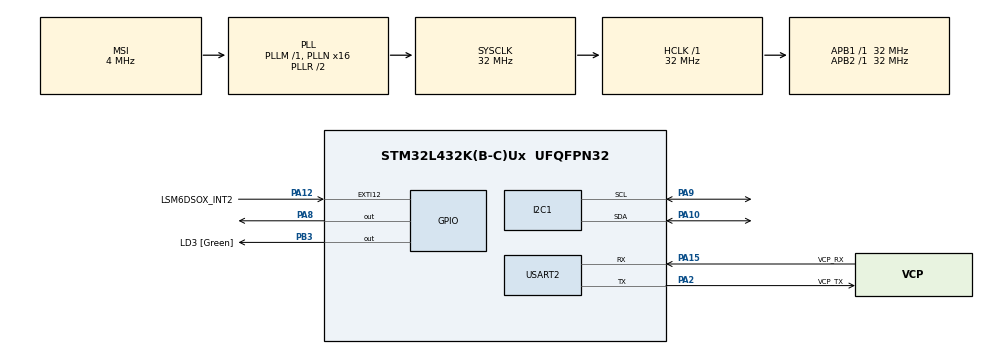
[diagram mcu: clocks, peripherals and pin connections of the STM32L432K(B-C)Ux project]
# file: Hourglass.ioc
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I2C1.Timing=0x00B07CB4
Mcu.Family=STM32L4
Mcu.Name=STM32L432K(B-C)Ux
Mcu.Package=UFQFPN32
NVIC.EXTI15_10_IRQn=true\:0\:0\:false\:false\:true\:true\:true\:true
NVIC.PriorityGroup=NVIC_PRIORITYGROUP_4
PA0.GPIO_Label=MCO [High speed clock in]
PA0.Signal=RCC_CK_IN
PA10.Mode=I2C
PA10.Signal=I2C1_SDA
PA12.GPIO_Label=LSM6DSOX_INT2
PA12.GPIO_PuPd=GPIO_PULLDOWN
PA12.Signal=GPXTI12
PA13\ (JTMS-SWDIO).GPIO_Label=SWDIO
PA13\ (JTMS-SWDIO).Signal=SYS_JTMS-SWDIO
PA14\ (JTCK-SWCLK).GPIO_Label=SWCLK
PA14\ (JTCK-SWCLK).Signal=SYS_JTCK-SWCLK
PA15\ (JTDI).GPIO_Label=VCP_RX
PA15\ (JTDI).Mode=Asynchronous
PA15\ (JTDI).Signal=USART2_RX
PA2.GPIO_Label=VCP_TX
PA2.Mode=Asynchronous
PA2.Signal=USART2_TX
PA8.PinState=GPIO_PIN_SET
PA8.Signal=GPIO_Output
PA9.Mode=I2C
PA9.Signal=I2C1_SCL
PB3\ (JTDO-TRACESWO).GPIO_Label=LD3 [Green]
PB3\ (JTDO-TRACESWO).Signal=GPIO_Output
PC14-OSC32_IN\ (PC14).Signal=RCC_OSC32_IN
PC15-OSC32_OUT\ (PC15).Signal=RCC_OSC32_OUT
ProjectManager.HeapSize=0x200
ProjectManager.StackSize=0x400
ProjectManager.TargetToolchain=STM32CubeIDE
RCC.AHBFreq_Value=32000000
RCC.APB1Freq_Value=32000000
RCC.APB1TimFreq_Value=32000000
RCC.APB2Freq_Value=32000000
RCC.APB2TimFreq_Value=32000000
RCC.CortexFreq_Value=32000000
RCC.HCLKFreq_Value=32000000
RCC.HSE_VALUE=8000000
RCC.HSI16_VALUE=16000000
RCC.HSI48_VALUE=48000000
RCC.HSI_VALUE=16000000
RCC.LSE_VALUE=32768
RCC.MSI_VALUE=4000000
RCC.PLLMUL=RCC_PLLMUL_4
RCC.PLLN=16
RCC.SYSCLKFreq_VALUE=32000000
RCC.SYSCLKSource=RCC_SYSCLKSOURCE_PLLCLK
RCC.VCOOutputFreq_Value=64000000
USART2.VirtualMode-Asynchronous=VM_ASYNC
board=NUCLEO-L432KC

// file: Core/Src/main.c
/* USER CODE BEGIN Header */
/**
  ******************************************************************************
  * @file           : main.c
  * @brief          : Main program body
  ******************************************************************************
  * @attention
  *
  * Copyright (c) 2024 STMicroelectronics.
  * All rights reserved.
  *
  * This software is licensed under terms that can be found in the LICENSE file
  * in the root directory of this software component.
  * If no LICENSE file comes with this software, it is provided AS-IS.
  *
  ******************************************************************************
  */
/* USER CODE END Header */
#include "main.h"
#include "i2c.h"
#include "usart.h"
#include "gpio.h"

/* USER CODE BEGIN Includes */
#include "lsm6dsox_reg.h"
#include <string.h>
#include <stdio.h>
/* USER CODE END Includes */

/* USER CODE BEGIN PM */
#define BOOT_TIME 10 //ms

/* Self Test Limits */
#define MIN_ST_LIMIT_mg 50.0f
#define MAX_ST_LIMIT_mg 1700.0F
#define MIN_ST_LIMIT_mdps 150000.0f
#define MAX_ST_LIMIT_mdps 700000.0f

/* Self Test Results*/
#define ST_PASS 1U
#define ST_FAIL 0U
/* USER CODE END PM */

/* USER CODE BEGIN PV */
static int16_t data_raw_acceleration[3];
static float acceleration_mg[3];
static uint8_t whoamI, rst;
static uint8_t tx_buffer[1000];

lsm6dsox_all_sources_t all_source;
stmdev_ctx_t dev_ctx;
/* USER CODE END PV */

void SystemClock_Config(void);
/* USER CODE BEGIN PFP */
static int32_t platform_write(void *handle, uint8_t reg, const uint8_t *bufp, uint16_t len);
static int32_t platform_read(void *handle, uint8_t reg, uint8_t *bufp, uint16_t len);
static void tx_com(uint8_t *tx_buffer, uint16_t len);
static void platform_delay(uint32_t ms);
void lsm6dsox_self_test(void);
void lsm6dsox_read_data_polling(void);
void lsm6dsox_orientation(void);
void lsm6dsox_setup();
/* USER CODE END PFP */

int main(void)
{

  /* MCU Configuration--------------------------------------------------------*/

  /* Reset of all peripherals, Initializes the Flash interface and the Systick. */
  HAL_Init();

  /* Configure the system clock */
  SystemClock_Config();

  /* Initialize all configured peripherals */
  MX_GPIO_Init();
  MX_I2C1_Init();
  MX_USART2_UART_Init();
  /* USER CODE BEGIN 2 */
  //HAL_Delay(100);
  //lsm6dsox_self_test();//Sensor Test
  //lsm6dsox_read_data_polling();
  //lsm6dsox_orientation();
  lsm6dsox_setup();
  /* USER CODE END 2 */

  /* Infinite loop */
  /* USER CODE BEGIN WHILE */
  while (1)
  {
    HAL_Delay(200);
    //HAL_GPIO_TogglePin(GPIOB,GPIO_PIN_3);//LED
    HAL_GPIO_TogglePin(GPIOA,GPIO_PIN_8);//External LED
    //HAL_Delay(3000);
    /* USER CODE END WHILE */

  }
}

void SystemClock_Config(void)
{
  RCC_OscInitTypeDef RCC_OscInitStruct = {0};
  RCC_ClkInitTypeDef RCC_ClkInitStruct = {0};

  /** Configure the main internal regulator output voltage
  */
  if (HAL_PWREx_ControlVoltageScaling(PWR_REGULATOR_VOLTAGE_SCALE1) != HAL_OK)
  {
    Error_Handler();
  }

  /** Initializes the RCC Oscillators according to the specified parameters
  * in the RCC_OscInitTypeDef structure.
  */
  RCC_OscInitStruct.OscillatorType = RCC_OSCILLATORTYPE_MSI;
  RCC_OscInitStruct.MSIState = RCC_MSI_ON;
  RCC_OscInitStruct.MSICalibrationValue = 0;
  RCC_OscInitStruct.MSIClockRange = RCC_MSIRANGE_6;
  RCC_OscInitStruct.PLL.PLLState = RCC_PLL_ON;
  RCC_OscInitStruct.PLL.PLLSource = RCC_PLLSOURCE_MSI;
  RCC_OscInitStruct.PLL.PLLM = 1;
  RCC_OscInitStruct.PLL.PLLN = 16;
  RCC_OscInitStruct.PLL.PLLP = RCC_PLLP_DIV7;
  RCC_OscInitStruct.PLL.PLLQ = RCC_PLLQ_DIV2;
  RCC_OscInitStruct.PLL.PLLR = RCC_PLLR_DIV2;
  if (HAL_RCC_OscConfig(&RCC_OscInitStruct) != HAL_OK)
  {
    Error_Handler();
  }

  /** Initializes the CPU, AHB and APB buses clocks
  */
  RCC_ClkInitStruct.ClockType = RCC_CLOCKTYPE_HCLK|RCC_CLOCKTYPE_SYSCLK
                              |RCC_CLOCKTYPE_PCLK1|RCC_CLOCKTYPE_PCLK2;
  RCC_ClkInitStruct.SYSCLKSource = RCC_SYSCLKSOURCE_PLLCLK;
  RCC_ClkInitStruct.AHBCLKDivider = RCC_SYSCLK_DIV1;
  RCC_ClkInitStruct.APB1CLKDivider = RCC_HCLK_DIV1;
  RCC_ClkInitStruct.APB2CLKDivider = RCC_HCLK_DIV1;

  if (HAL_RCC_ClockConfig(&RCC_ClkInitStruct, FLASH_LATENCY_1) != HAL_OK)
  {
    Error_Handler();
  }
}

/* USER CODE BEGIN 4 */

/**
 * @brief  ISR for INT2 from LMSD6DSOX
 *
 * @param GPIO_Pin Pin that will be checked upon entering the ISR
 */
void HAL_GPIO_EXTI_Callback(uint16_t GPIO_Pin)
{
  if(GPIO_Pin == LSM6DSOX_INT2_Pin)
  {
    /* Check if 6D/4D Orientation events. */
    lsm6dsox_all_sources_get(&dev_ctx, &all_source);

    //Check the Up or Down orientation
    if (all_source.six_d_zh) {
      sprintf((char *)tx_buffer, "ZH\r\n");
      tx_com(tx_buffer, strlen((char const *)tx_buffer));
    }

    if (all_source.six_d_zl) {
      sprintf((char *)tx_buffer, "ZL\r\n");
      tx_com(tx_buffer, strlen((char const *)tx_buffer));
    }
  }
}

/**
 * @brief Self test Function for lsm6dsox
 */
void lsm6dsox_self_test(void)
{
  uint8_t tx_buffer[1000];
  stmdev_ctx_t dev_ctx;
  float val_st_off[3];
  int16_t data_raw[3];
  float val_st_on[3];
  float test_val[3];
  uint8_t st_result;
  uint8_t whoamI;
  uint8_t drdy;
  uint8_t rst;
  uint8_t i;
  uint8_t j;

  /* Initialize mems driver interface */
  dev_ctx.write_reg = platform_write;
  dev_ctx.read_reg = platform_read;
  dev_ctx.mdelay = platform_delay;
  dev_ctx.handle = &hi2c1;

  /* Wait sensor boot time */
  platform_delay(BOOT_TIME);//TODO:Change this to just be a direct call to delay() function

  /* Check device ID */
  lsm6dsox_device_id_get(&dev_ctx, &whoamI);

  if (whoamI != LSM6DSOX_ID)
    while (1);

  /* Restore default configuration */
  lsm6dsox_reset_set(&dev_ctx, PROPERTY_ENABLE);

  do {
    lsm6dsox_reset_get(&dev_ctx, &rst);
  } while (rst);

  /* Disable I3C interface */
  lsm6dsox_i3c_disable_set(&dev_ctx, LSM6DSOX_I3C_DISABLE);
  /* Enable Block Data Update */
  lsm6dsox_block_data_update_set(&dev_ctx, PROPERTY_ENABLE);
  /*
   * Accelerometer Self Test
   */
  /* Set Output Data Rate */
  lsm6dsox_xl_data_rate_set(&dev_ctx, LSM6DSOX_XL_ODR_52Hz);
  /* Set full scale */
  lsm6dsox_xl_full_scale_set(&dev_ctx, LSM6DSOX_4g);
  /* Wait stable output */
  platform_delay(100);

  /* Check if new value available */
  do {
    lsm6dsox_xl_flag_data_ready_get(&dev_ctx, &drdy);
  } while (!drdy);

  /* Read dummy data and discard it */
  lsm6dsox_acceleration_raw_get(&dev_ctx, data_raw);
  /* Read 5 sample and get the average vale for each axis */
  memset(val_st_off, 0x00, 3 * sizeof(float));

  for (i = 0; i < 5; i++) {
    /* Check if new value available */
    do {
      lsm6dsox_xl_flag_data_ready_get(&dev_ctx, &drdy);
    } while (!drdy);

    /* Read data and accumulate the mg value */
    lsm6dsox_acceleration_raw_get(&dev_ctx, data_raw);

    for (j = 0; j < 3; j++) {
      val_st_off[j] += lsm6dsox_from_fs4_to_mg(data_raw[j]);
    }
  }

  /* Calculate the mg average values */
  for (i = 0; i < 3; i++) {
    val_st_off[i] /= 5.0f;
  }

  /* Enable Self Test positive (or negative) */
  lsm6dsox_xl_self_test_set(&dev_ctx, LSM6DSOX_XL_ST_NEGATIVE);
  //lsm6dsox_xl_self_test_set(&dev_ctx, LSM6DSOX_XL_ST_POSITIVE);
  /* Wait stable output */
  platform_delay(100);

  /* Check if new value available */
  do {
    lsm6dsox_xl_flag_data_ready_get(&dev_ctx, &drdy);
  } while (!drdy);

  /* Read dummy data and discard it */
  lsm6dsox_acceleration_raw_get(&dev_ctx, data_raw);
  /* Read 5 sample and get the average vale for each axis */
  memset(val_st_on, 0x00, 3 * sizeof(float));
  for (i = 0; i < 5; i++) {
    /* Check if new value available */
    do {
      lsm6dsox_xl_flag_data_ready_get(&dev_ctx, &drdy);
    } while (!drdy);

    /* Read data and accumulate the mg value */
    lsm6dsox_acceleration_raw_get(&dev_ctx, data_raw);

    for (j = 0; j < 3; j++) {
      val_st_on[j] += lsm6dsox_from_fs4_to_mg(data_raw[j]);
    }
  }

  /* Calculate the mg average values */
  for (i = 0; i < 3; i++) {
    val_st_on[i] /= 5.0f;
  }

  /* Calculate the mg values for self test */
  for (i = 0; i < 3; i++) {
    test_val[i] = fabs((val_st_on[i] - val_st_off[i]));
  }

  /* Check self test limit */
  st_result = ST_PASS;

  for (i = 0; i < 3; i++) {
    if (( MIN_ST_LIMIT_mg > test_val[i] ) ||
        ( test_val[i] > MAX_ST_LIMIT_mg)) {
      st_result = ST_FAIL;
    }
  }

  /* Disable Self Test */
  lsm6dsox_xl_self_test_set(&dev_ctx, LSM6DSOX_XL_ST_DISABLE);
  /* Disable sensor. */
  lsm6dsox_xl_data_rate_set(&dev_ctx, LSM6DSOX_XL_ODR_OFF);
  /*
   * Gyroscope Self Test
   */
  /* Set Output Data Rate */
  lsm6dsox_gy_data_rate_set(&dev_ctx, LSM6DSOX_GY_ODR_208Hz);
  /* Set full scale */
  lsm6dsox_gy_full_scale_set(&dev_ctx, LSM6DSOX_2000dps);
  /* Wait stable output */
  platform_delay(100);

  /* Check if new value available */
  do {
    lsm6dsox_gy_flag_data_ready_get(&dev_ctx, &drdy);
  } while (!drdy);

  /* Read dummy data and discard it */
  lsm6dsox_angular_rate_raw_get(&dev_ctx, data_raw);
  /* Read 5 sample and get the average vale for each axis */
  memset(val_st_off, 0x00, 3 * sizeof(float));

  for (i = 0; i < 5; i++) {
    /* Check if new value available */
    do {
      lsm6dsox_gy_flag_data_ready_get(&dev_ctx, &drdy);
    } while (!drdy);

    /* Read data and accumulate the mg value */
    lsm6dsox_angular_rate_raw_get(&dev_ctx, data_raw);

    for (j = 0; j < 3; j++) {
      val_st_off[j] += lsm6dsox_from_fs2000_to_mdps(data_raw[j]);
    }
  }

  /* Calculate the mg average values */
  for (i = 0; i < 3; i++) {
    val_st_off[i] /= 5.0f;
  }

  /* Enable Self Test positive (or negative) */
  lsm6dsox_gy_self_test_set(&dev_ctx, LSM6DSOX_GY_ST_POSITIVE);
  //lsm6dsox_gy_self_test_set(&dev_ctx, LIS2DH12_GY_ST_NEGATIVE);
  /* Wait stable output */
  platform_delay(100);
  /* Read 5 sample and get the average vale for each axis */
  memset(val_st_on, 0x00, 3 * sizeof(float));

  for (i = 0; i < 5; i++) {
    /* Check if new value available */
    do {
      lsm6dsox_gy_flag_data_ready_get(&dev_ctx, &drdy);
    } while (!drdy);

    /* Read data and accumulate the mg value */
    lsm6dsox_angular_rate_raw_get(&dev_ctx, data_raw);

    for (j = 0; j < 3; j++) {
      val_st_on[j] += lsm6dsox_from_fs2000_to_mdps(data_raw[j]);
    }
  }

  /* Calculate the mg average values */
  for (i = 0; i < 3; i++) {
    val_st_on[i] /= 5.0f;
  }

  /* Calculate the mg values for self test */
  for (i = 0; i < 3; i++) {
    test_val[i] = fabs((val_st_on[i] - val_st_off[i]));
  }

  /* Check self test limit */
  for (i = 0; i < 3; i++) {
    if (( MIN_ST_LIMIT_mdps > test_val[i] ) ||
        ( test_val[i] > MAX_ST_LIMIT_mdps)) {
      st_result = ST_FAIL;
    }
  }

  /* Disable Self Test */
  lsm6dsox_gy_self_test_set(&dev_ctx, LSM6DSOX_GY_ST_DISABLE);
  /* Disable sensor. */
  lsm6dsox_gy_data_rate_set(&dev_ctx, LSM6DSOX_GY_ODR_OFF);

  if (st_result == ST_PASS) {
    sprintf((char *)tx_buffer, "Self Test - PASS\r\n" );
  }

  else {
    sprintf((char *)tx_buffer, "Self Test - FAIL\r\n" );
  }

  tx_com(tx_buffer, strlen((char const *)tx_buffer));
}

/**
 * @brief  Read accelerometer data from lsm6dsox in Polling mode
 *
 */
void lsm6dsox_read_data_polling(void)
{
  stmdev_ctx_t dev_ctx;
  /* Initialize mems driver interface */
  dev_ctx.write_reg = platform_write;
  dev_ctx.read_reg = platform_read;
  dev_ctx.mdelay = platform_delay;
  dev_ctx.handle = &hi2c1;
  /* Wait sensor boot time */
  platform_delay(BOOT_TIME);
  /* Check device ID */
  lsm6dsox_device_id_get(&dev_ctx, &whoamI);

  if (whoamI != LSM6DSOX_ID)
    while (1);

  /* Restore default configuration */
  lsm6dsox_reset_set(&dev_ctx, PROPERTY_ENABLE);

  do {
    lsm6dsox_reset_get(&dev_ctx, &rst);
  } while (rst);

  /* Disable I3C interface */
  lsm6dsox_i3c_disable_set(&dev_ctx, LSM6DSOX_I3C_DISABLE);
  //TODO :Disable the gyro here too
  /* Enable Block Data Update */
  lsm6dsox_block_data_update_set(&dev_ctx, PROPERTY_ENABLE);
  /* Set Output Data Rate */
  lsm6dsox_xl_data_rate_set(&dev_ctx, LSM6DSOX_XL_ODR_12Hz5);
  /* Set full scale */
  lsm6dsox_xl_full_scale_set(&dev_ctx, LSM6DSOX_2g);
  /* Configure filtering chain(No aux interface)
   * Accelerometer - LPF1 + LPF2 path
   */
  lsm6dsox_xl_hp_path_on_out_set(&dev_ctx, LSM6DSOX_LP_ODR_DIV_100);
  lsm6dsox_xl_filter_lp2_set(&dev_ctx, PROPERTY_ENABLE);

  /* Read samples in polling mode (no int) */
  while (1) {
    uint8_t reg;
    /* Read output only if new xl value is available */
    lsm6dsox_xl_flag_data_ready_get(&dev_ctx, &reg);

    if (reg) {
      /* Read acceleration field data */
      memset(data_raw_acceleration, 0x00, 3 * sizeof(int16_t));
      lsm6dsox_acceleration_raw_get(&dev_ctx, data_raw_acceleration);
      acceleration_mg[0] =
        lsm6dsox_from_fs2_to_mg(data_raw_acceleration[0]);
      acceleration_mg[1] =
        lsm6dsox_from_fs2_to_mg(data_raw_acceleration[1]);
      acceleration_mg[2] =
        lsm6dsox_from_fs2_to_mg(data_raw_acceleration[2]);
      sprintf((char *)tx_buffer,
              "Acceleration [mg]:%4.2f\t%4.2f\t%4.2f\r\n",
              acceleration_mg[0], acceleration_mg[1], acceleration_mg[2]);
      tx_com(tx_buffer, strlen((char const *)tx_buffer));
    }
  }
}

/**
 * @brief LSM6DSOX Sensor setup
 *
 */
void lsm6dsox_setup()
{
  //Configure INT2
  lsm6dsox_pin_int2_route_t int2_route;

  //Initialize mems driver interface
  dev_ctx.write_reg = platform_write;
  dev_ctx.read_reg = platform_read;
  dev_ctx.mdelay = platform_delay;
  dev_ctx.handle = &hi2c1;

  /* Wait sensor boot time */
  platform_delay(BOOT_TIME);

  /* Check device ID. */
  lsm6dsox_device_id_get(&dev_ctx, &whoamI);
  if (whoamI != LSM6DSOX_ID)
  {
    while (1);
    //TODO:Implement better handling
  }

  /* Restore default configuration. */
  lsm6dsox_reset_set(&dev_ctx, PROPERTY_ENABLE);
  do {
    lsm6dsox_reset_get(&dev_ctx, &rst);
  } while (rst);

  /* Disable I3C interface. */
  lsm6dsox_i3c_disable_set(&dev_ctx, LSM6DSOX_I3C_DISABLE);
  /* Set XL Output Data Rate to 417 Hz. */
  lsm6dsox_xl_data_rate_set(&dev_ctx, LSM6DSOX_XL_ODR_417Hz);
  /* Set 2g full XL scale.*/
  lsm6dsox_xl_full_scale_set(&dev_ctx, LSM6DSOX_2g);
  /* Set threshold to 60 degrees. */
  lsm6dsox_6d_threshold_set(&dev_ctx, LSM6DSOX_DEG_60);
  /* LPF2 on 6D/4D function selection. */
  lsm6dsox_xl_lp2_on_6d_set(&dev_ctx, PROPERTY_ENABLE);

  /* Uncomment if interrupt generation on Free Fall INT2 pin */
  lsm6dsox_pin_int2_route_get(&dev_ctx, NULL, &int2_route);
  int2_route.six_d = PROPERTY_ENABLE;
  lsm6dsox_pin_int2_route_set(&dev_ctx, NULL, int2_route);

  //sprintf((char *) tx_buffer, "Setup complete!\r\n");//TLIFT
  //tx_com(tx_buffer, strlen((char const *)tx_buffer));//TLIFT
}

/**
 * @brief Get orientation using Interrupt 2
 *
 */
void lsm6dsox_orientation(void)
{
  stmdev_ctx_t dev_ctx;
  /* Uncomment to configure INT 1 */
  //lsm6dsox_pin_int1_route_t int1_route;
  lsm6dsox_pin_int2_route_t int2_route;
  /* Initialize mems driver interface. */
  dev_ctx.write_reg = platform_write;
  dev_ctx.read_reg = platform_read;
  dev_ctx.mdelay = platform_delay;
  dev_ctx.handle = &hi2c1;
  /* Wait sensor boot time */
  platform_delay(BOOT_TIME);
  /* Check device ID. */
  lsm6dsox_device_id_get(&dev_ctx, &whoamI);

  if (whoamI != LSM6DSOX_ID)
    while (1);

  /* Restore default configuration. */
  lsm6dsox_reset_set(&dev_ctx, PROPERTY_ENABLE);

  do {
    lsm6dsox_reset_get(&dev_ctx, &rst);
  } while (rst);

  /* Disable I3C interface. */
  lsm6dsox_i3c_disable_set(&dev_ctx, LSM6DSOX_I3C_DISABLE);
  /* Set XL Output Data Rate to 417 Hz. */
  lsm6dsox_xl_data_rate_set(&dev_ctx, LSM6DSOX_XL_ODR_417Hz);
  /* Set 2g full XL scale.*/
  lsm6dsox_xl_full_scale_set(&dev_ctx, LSM6DSOX_2g);
  /* Set threshold to 60 degrees. */
  lsm6dsox_6d_threshold_set(&dev_ctx, LSM6DSOX_DEG_60);
  /* LPF2 on 6D/4D function selection. */
  lsm6dsox_xl_lp2_on_6d_set(&dev_ctx, PROPERTY_ENABLE);
  /*
   * To enable 4D mode uncomment next line.
   * 4D orientation detection disable Z-axis events.
   */
  //lsm6dsox_4d_mode_set(&dev_ctx, PROPERTY_ENABLE);
  /*
   * Uncomment if interrupt generation on Free Fall INT1 pin
   */
  //lsm6dsox_pin_int1_route_get(&dev_ctx, &int1_route);
  //int1_route.reg.md1_cfg.int1_ff = PROPERTY_ENABLE;
  //lsm6dsox_pin_int1_route_set(&dev_ctx, &int1_route);

  /* Uncomment if interrupt generation on Free Fall INT2 pin */
  lsm6dsox_pin_int2_route_get(&dev_ctx, NULL, &int2_route);
  int2_route.free_fall = PROPERTY_ENABLE;
  lsm6dsox_pin_int2_route_set(&dev_ctx, NULL, int2_route);

  /* Wait Events. */
  while (1) {
    lsm6dsox_all_sources_t all_source;
    //Check if 6D/4D Orientation events.
    lsm6dsox_all_sources_get(&dev_ctx, &all_source);

    if (all_source.six_d) {
      sprintf((char *)tx_buffer, "6D Or. switched to ");

      if (all_source.six_d_xh) {
        strcat((char *)tx_buffer, "XH");
      }

      if (all_source.six_d_xl) {
        strcat((char *)tx_buffer, "XL");
      }

      if (all_source.six_d_yh) {
        strcat((char *)tx_buffer, "YH");
      }

      if (all_source.six_d_yl) {
        strcat((char *)tx_buffer, "YL");
      }

      if (all_source.six_d_zh) {
        strcat((char *)tx_buffer, "ZH");
      }

      if (all_source.six_d_zl) {
        strcat((char *)tx_buffer, "ZL");
      }

      strcat((char *)tx_buffer, "\r\n");
      tx_com(tx_buffer, strlen((char const *)tx_buffer));
    }
  }
}

/*
 * @brief  Write generic device register (platform dependent)
 *
 * @param  handle    Sensor bus handler.
 * @param  reg       register to write
 * @param  bufp      pointer to data to write in register reg
 * @param  len       number of consecutive register to write
 *
 */
static int32_t platform_write(void *handle, uint8_t reg, const uint8_t *bufp,uint16_t len)
{
  //HAL_I2C_Mem_Write(handle, LSM6DSOX_I2C_ADD_L, reg, I2C_MEMADD_SIZE_8BIT, (uint8_t*) bufp, len, 1000);
  HAL_I2C_Mem_Write(handle,LSM6DSOX_I2C_ADD_L, reg, I2C_MEMADD_SIZE_8BIT, (uint8_t*) bufp,len,1000);
  return 0;
}

/*
 * @brief  Read generic device register (platform dependent)
 *
 * @param  handle    Sensor bus handler.
 * @param  reg       register to read
 * @param  bufp      pointer to buffer that store the data read
 * @param  len       number of consecutive register to read
 *
 */
static int32_t platform_read(void *handle, uint8_t reg, uint8_t *bufp, uint16_t len)
{
  HAL_I2C_Mem_Read(handle, LSM6DSOX_I2C_ADD_L, reg, I2C_MEMADD_SIZE_8BIT, bufp, len, 1000);
  return 0;
}

/*
 * @brief  Delay in Milliseconds
 *
 * @param  ms        delay in ms
 *
 */
static void platform_delay(uint32_t ms)
{
  HAL_Delay(ms);
}

/**
 * @brief Transmit over serial (UART)
 *
 * @param tx_buffer
 * @param len
 */
static void tx_com(uint8_t *tx_buffer, uint16_t len)
{
  HAL_UART_Transmit(&huart2, tx_buffer, len, 1000);
}

/* USER CODE END 4 */

void Error_Handler(void)
{
  __disable_irq();
  while (1)
  {
  }
}
